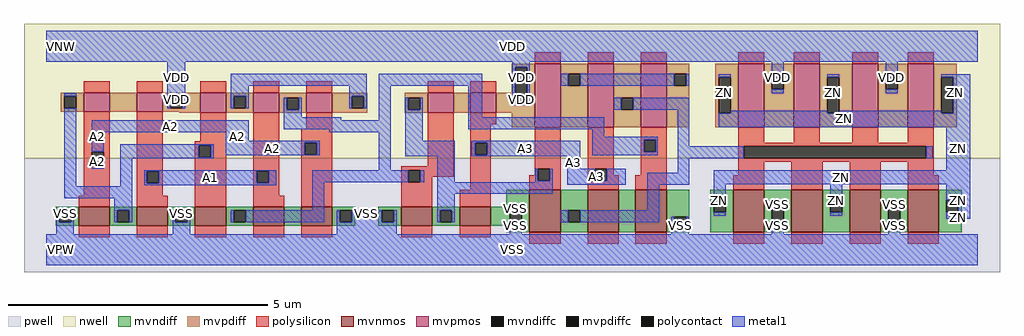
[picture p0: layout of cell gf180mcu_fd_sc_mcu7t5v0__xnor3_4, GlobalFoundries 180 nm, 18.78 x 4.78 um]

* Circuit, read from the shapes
.subckt gf180mcu_fd_sc_mcu7t5v0__xnor3_4 A1 A2 A3 ZN VDD VNW VPW VSS
XM1 n1 A2 VSS VPW nfet_06v0 w=0.36u l=0.6u
XM2 VSS A1 n1 VPW nfet_06v0 w=0.36u l=0.6u
XM3 n2 n1 VSS VPW nfet_06v0 w=0.36u l=0.6u
XM4 n3 A1 n2 VPW nfet_06v0 w=0.36u l=0.6u
XM5 VSS A2 n3 VPW nfet_06v0 w=0.36u l=0.6u
XM6 n4 n2 VSS VPW nfet_06v0 w=0.36u l=0.6u
XM7 VSS A3 n4 VPW nfet_06v0 w=0.36u l=0.6u
XM8 n5 n4 VSS VPW nfet_06v0 w=0.82u l=0.6u
XM9 n6 A3 n5 VPW nfet_06v0 w=0.82u l=0.6u
XM10 VSS n2 n6 VPW nfet_06v0 w=0.82u l=0.6u
XM11 VSS n5 ZN VPW nfet_06v0 w=0.82u l=0.6u m=4
XM12 n7 A2 n1 VNW pfet_06v0 w=0.36u l=0.5u
XM13 VDD A1 n7 VNW pfet_06v0 w=0.36u l=0.5u
XM14 n8 n1 VDD VNW pfet_06v0 w=0.385u l=0.5u
XM15 n2 A1 n8 VNW pfet_06v0 w=0.385u l=0.5u
XM16 n8 A2 n2 VNW pfet_06v0 w=0.385u l=0.5u
XM17 n9 n2 n4 VNW pfet_06v0 w=0.385u l=0.5u
XM18 VDD A3 n9 VNW pfet_06v0 w=0.385u l=0.5u
XM19 n10 n4 VDD VNW pfet_06v0 w=1.22u l=0.5u
XM20 n5 A3 n10 VNW pfet_06v0 w=1.22u l=0.5u
XM21 n10 n2 n5 VNW pfet_06v0 w=1.22u l=0.5u
XM22 VDD n5 ZN VNW pfet_06v0 w=1.22u l=0.5u m=4
.ends

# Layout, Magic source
magic
tech gf180mcuD
magscale 1 10
<< nwell >>
rect -86 352 3670 870
<< pwell >>
rect -86 -86 3670 352
<< mvnmos >>
rect 124 93 244 165
rect 348 93 468 165
rect 572 93 692 165
rect 796 93 916 165
rect 980 93 1100 165
rect 1366 93 1486 165
rect 1590 93 1710 165
rect 1859 68 1979 232
rect 2083 68 2203 232
rect 2267 68 2387 232
rect 2643 68 2763 232
rect 2867 68 2987 232
rect 3091 68 3211 232
rect 3315 68 3435 232
<< mvpmos >>
rect 144 532 244 604
rect 348 532 448 604
rect 592 527 692 604
rect 796 527 896 604
rect 1000 527 1100 604
rect 1467 527 1567 604
rect 1631 527 1731 604
rect 1879 472 1979 716
rect 2083 472 2183 716
rect 2287 472 2387 716
rect 2663 472 2763 716
rect 2877 472 2977 716
rect 3101 472 3201 716
rect 3315 472 3415 716
<< mvndiff >>
rect 1770 165 1859 232
rect 36 152 124 165
rect 36 106 49 152
rect 95 106 124 152
rect 36 93 124 106
rect 244 152 348 165
rect 244 106 273 152
rect 319 106 348 152
rect 244 93 348 106
rect 468 152 572 165
rect 468 106 497 152
rect 543 106 572 152
rect 468 93 572 106
rect 692 152 796 165
rect 692 106 721 152
rect 767 106 796 152
rect 692 93 796 106
rect 916 93 980 165
rect 1100 152 1188 165
rect 1100 106 1129 152
rect 1175 106 1188 152
rect 1100 93 1188 106
rect 1278 152 1366 165
rect 1278 106 1291 152
rect 1337 106 1366 152
rect 1278 93 1366 106
rect 1486 152 1590 165
rect 1486 106 1515 152
rect 1561 106 1590 152
rect 1486 93 1590 106
rect 1710 152 1859 165
rect 1710 106 1783 152
rect 1829 106 1859 152
rect 1710 93 1859 106
rect 1770 68 1859 93
rect 1979 152 2083 232
rect 1979 106 2008 152
rect 2054 106 2083 152
rect 1979 68 2083 106
rect 2203 68 2267 232
rect 2387 128 2475 232
rect 2387 82 2416 128
rect 2462 82 2475 128
rect 2387 68 2475 82
rect 2555 191 2643 232
rect 2555 145 2568 191
rect 2614 145 2643 191
rect 2555 68 2643 145
rect 2763 157 2867 232
rect 2763 111 2792 157
rect 2838 111 2867 157
rect 2763 68 2867 111
rect 2987 191 3091 232
rect 2987 145 3016 191
rect 3062 145 3091 191
rect 2987 68 3091 145
rect 3211 157 3315 232
rect 3211 111 3240 157
rect 3286 111 3315 157
rect 3211 68 3315 111
rect 3435 191 3523 232
rect 3435 145 3464 191
rect 3510 145 3523 191
rect 3435 68 3523 145
<< mvpdiff >>
rect 1791 703 1879 716
rect 1791 604 1804 703
rect 56 591 144 604
rect 56 545 69 591
rect 115 545 144 591
rect 56 532 144 545
rect 244 532 348 604
rect 448 591 592 604
rect 448 545 477 591
rect 523 545 592 591
rect 448 532 592 545
rect 512 527 592 532
rect 692 591 796 604
rect 692 545 721 591
rect 767 545 796 591
rect 692 527 796 545
rect 896 586 1000 604
rect 896 540 925 586
rect 971 540 1000 586
rect 896 527 1000 540
rect 1100 591 1235 604
rect 1100 545 1176 591
rect 1222 545 1235 591
rect 1100 527 1235 545
rect 1379 586 1467 604
rect 1379 540 1392 586
rect 1438 540 1467 586
rect 1379 527 1467 540
rect 1567 527 1631 604
rect 1731 563 1804 604
rect 1850 563 1879 703
rect 1731 527 1879 563
rect 1791 472 1879 527
rect 1979 678 2083 716
rect 1979 632 2008 678
rect 2054 632 2083 678
rect 1979 472 2083 632
rect 2183 586 2287 716
rect 2183 540 2212 586
rect 2258 540 2287 586
rect 2183 472 2287 540
rect 2387 678 2475 716
rect 2387 632 2416 678
rect 2462 632 2475 678
rect 2387 472 2475 632
rect 2575 665 2663 716
rect 2575 525 2588 665
rect 2634 525 2663 665
rect 2575 472 2663 525
rect 2763 665 2877 716
rect 2763 619 2792 665
rect 2838 619 2877 665
rect 2763 472 2877 619
rect 2977 665 3101 716
rect 2977 525 3006 665
rect 3052 525 3101 665
rect 2977 472 3101 525
rect 3201 665 3315 716
rect 3201 619 3230 665
rect 3276 619 3315 665
rect 3201 472 3315 619
rect 3415 665 3503 716
rect 3415 525 3444 665
rect 3490 525 3503 665
rect 3415 472 3503 525
<< mvndiffc >>
rect 49 106 95 152
rect 273 106 319 152
rect 497 106 543 152
rect 721 106 767 152
rect 1129 106 1175 152
rect 1291 106 1337 152
rect 1515 106 1561 152
rect 1783 106 1829 152
rect 2008 106 2054 152
rect 2416 82 2462 128
rect 2568 145 2614 191
rect 2792 111 2838 157
rect 3016 145 3062 191
rect 3240 111 3286 157
rect 3464 145 3510 191
<< mvpdiffc >>
rect 69 545 115 591
rect 477 545 523 591
rect 721 545 767 591
rect 925 540 971 586
rect 1176 545 1222 591
rect 1392 540 1438 586
rect 1804 563 1850 703
rect 2008 632 2054 678
rect 2212 540 2258 586
rect 2416 632 2462 678
rect 2588 525 2634 665
rect 2792 619 2838 665
rect 3006 525 3052 665
rect 3230 619 3276 665
rect 3444 525 3490 665
<< polysilicon >>
rect 1879 716 1979 760
rect 2083 716 2183 760
rect 2287 716 2387 760
rect 2663 716 2763 760
rect 2877 716 2977 760
rect 3101 716 3201 760
rect 3315 716 3415 760
rect 144 604 244 648
rect 348 604 448 648
rect 592 604 692 648
rect 796 604 896 648
rect 1000 604 1100 648
rect 1467 604 1567 648
rect 1631 604 1731 648
rect 144 378 244 532
rect 144 332 175 378
rect 221 332 244 378
rect 144 209 244 332
rect 124 165 244 209
rect 348 303 448 532
rect 592 418 692 527
rect 348 257 387 303
rect 433 257 448 303
rect 348 209 448 257
rect 572 403 692 418
rect 572 357 587 403
rect 633 357 692 403
rect 348 165 468 209
rect 572 165 692 357
rect 796 304 896 527
rect 1000 467 1100 527
rect 796 258 809 304
rect 855 258 896 304
rect 796 209 896 258
rect 980 412 1100 467
rect 980 366 995 412
rect 1041 366 1100 412
rect 796 165 916 209
rect 980 165 1100 366
rect 1467 322 1567 527
rect 1366 307 1567 322
rect 1366 261 1393 307
rect 1439 282 1567 307
rect 1631 483 1731 527
rect 1631 412 1710 483
rect 1631 366 1651 412
rect 1697 366 1710 412
rect 1439 261 1486 282
rect 1366 165 1486 261
rect 1631 232 1710 366
rect 1879 312 1979 472
rect 1879 288 1892 312
rect 1859 266 1892 288
rect 1938 266 1979 312
rect 1859 232 1979 266
rect 2083 312 2183 472
rect 2083 266 2110 312
rect 2156 288 2183 312
rect 2287 423 2387 472
rect 2287 377 2300 423
rect 2346 377 2387 423
rect 2287 288 2387 377
rect 2663 412 2763 472
rect 2877 412 2977 472
rect 3101 412 3201 472
rect 3315 412 3415 472
rect 2663 399 3415 412
rect 2663 353 2683 399
rect 3387 353 3415 399
rect 2663 340 3415 353
rect 2663 288 2763 340
rect 2156 266 2203 288
rect 2083 232 2203 266
rect 2267 232 2387 288
rect 2643 232 2763 288
rect 2867 232 2987 340
rect 3091 232 3211 340
rect 3315 288 3415 340
rect 3315 232 3435 288
rect 1590 165 1710 232
rect 124 49 244 93
rect 348 49 468 93
rect 572 49 692 93
rect 796 49 916 93
rect 980 49 1100 93
rect 1366 49 1486 93
rect 1590 49 1710 93
rect 1859 24 1979 68
rect 2083 24 2203 68
rect 2267 24 2387 68
rect 2643 24 2763 68
rect 2867 24 2987 68
rect 3091 24 3211 68
rect 3315 24 3435 68
<< polycontact >>
rect 175 332 221 378
rect 387 257 433 303
rect 587 357 633 403
rect 809 258 855 304
rect 995 366 1041 412
rect 1393 261 1439 307
rect 1651 366 1697 412
rect 1892 266 1938 312
rect 2110 266 2156 312
rect 2300 377 2346 423
rect 2683 353 3387 399
<< metal1 >>
rect 0 724 3584 844
rect 69 591 115 603
rect 466 591 534 724
rect 1793 703 1861 724
rect 466 545 477 591
rect 523 545 534 591
rect 710 632 1233 678
rect 710 591 778 632
rect 710 545 721 591
rect 767 545 778 591
rect 1165 591 1233 632
rect 69 245 115 545
rect 914 540 925 586
rect 971 540 982 586
rect 1165 545 1176 591
rect 1222 545 1233 591
rect 1279 632 1678 678
rect 914 511 982 540
rect 914 499 1134 511
rect 1279 499 1325 632
rect 175 453 778 499
rect 914 465 1325 499
rect 1088 453 1325 465
rect 175 378 221 453
rect 690 419 778 453
rect 690 412 1052 419
rect 175 313 221 332
rect 284 403 644 407
rect 284 357 587 403
rect 633 357 644 403
rect 690 366 995 412
rect 1041 366 1052 412
rect 690 364 1052 366
rect 284 353 644 357
rect 284 245 330 353
rect 1279 307 1325 453
rect 1381 540 1392 586
rect 1438 540 1449 586
rect 1381 419 1449 540
rect 1623 511 1678 632
rect 1793 563 1804 703
rect 1850 563 1861 703
rect 1979 632 2008 678
rect 2054 632 2416 678
rect 2462 632 2475 678
rect 2588 665 2634 676
rect 1793 557 1861 563
rect 2183 540 2212 586
rect 2258 540 2475 586
rect 1623 465 2147 511
rect 2101 436 2147 465
rect 2101 423 2352 436
rect 1381 360 1572 419
rect 1635 412 2055 419
rect 1635 366 1651 412
rect 1697 366 2055 412
rect 1635 360 2055 366
rect 2101 377 2300 423
rect 2346 377 2352 423
rect 2101 364 2352 377
rect 2429 399 2475 540
rect 2792 665 2838 724
rect 2792 603 2838 619
rect 3006 665 3052 676
rect 2634 525 3006 536
rect 3230 665 3276 724
rect 3230 603 3276 619
rect 3444 665 3555 676
rect 3052 525 3444 536
rect 3490 525 3555 665
rect 2588 472 3555 525
rect 376 304 884 307
rect 376 303 809 304
rect 376 257 387 303
rect 433 258 809 303
rect 855 258 884 304
rect 433 257 884 258
rect 376 248 884 257
rect 1023 261 1393 307
rect 1439 261 1455 307
rect 1023 260 1455 261
rect 1504 261 1572 360
rect 2004 313 2055 360
rect 2429 353 2683 399
rect 3387 353 3412 399
rect 2004 312 2230 313
rect 1881 266 1892 312
rect 1938 266 1949 312
rect 1881 261 1949 266
rect 69 198 330 245
rect 262 152 330 198
rect 1023 152 1069 260
rect 1504 215 1949 261
rect 2004 266 2110 312
rect 2156 266 2230 312
rect 2429 297 2475 353
rect 3464 307 3555 472
rect 2004 251 2230 266
rect 2313 251 2475 297
rect 2568 252 3555 307
rect 1504 152 1572 215
rect 38 106 49 152
rect 95 106 106 152
rect 262 106 273 152
rect 319 106 330 152
rect 486 106 497 152
rect 543 106 554 152
rect 710 106 721 152
rect 767 106 1069 152
rect 1118 106 1129 152
rect 1175 106 1291 152
rect 1337 106 1348 152
rect 1504 106 1515 152
rect 1561 106 1572 152
rect 1783 152 1829 168
rect 2313 152 2359 251
rect 1979 106 2008 152
rect 2054 106 2359 152
rect 2568 191 2614 252
rect 3016 191 3062 252
rect 2568 131 2614 145
rect 2792 157 2838 181
rect 38 60 106 106
rect 486 60 554 106
rect 1118 60 1348 106
rect 1783 60 1829 106
rect 2405 82 2416 128
rect 2462 82 2473 128
rect 2405 60 2473 82
rect 3464 191 3555 252
rect 3016 131 3062 145
rect 3240 157 3286 181
rect 2792 60 2838 111
rect 3510 145 3555 191
rect 3464 120 3555 145
rect 3240 60 3286 111
rect 0 -60 3584 60
<< labels >>
flabel metal1 s 1635 360 2055 419 0 FreeSans 400 0 0 0 A3
port 3 nsew default input
flabel metal1 s 0 724 3584 844 0 FreeSans 400 0 0 0 VDD
port 5 nsew power bidirectional abutment
flabel metal1 s 3240 168 3286 181 0 FreeSans 400 0 0 0 VSS
port 8 nsew ground bidirectional abutment
flabel metal1 s 3444 536 3555 676 0 FreeSans 400 0 0 0 ZN
port 4 nsew default output
flabel metal1 s 376 248 884 307 0 FreeSans 400 0 0 0 A1
port 1 nsew default input
flabel metal1 s 175 453 778 499 0 FreeSans 400 0 0 0 A2
port 2 nsew default input
flabel nwell s 10 734 110 834 0 FreeSans 400 0 0 0 VNW
port 6 nsew power bidirectional
flabel pwell s 10 -50 110 50 0 FreeSans 400 0 0 0 VPW
port 7 nsew ground bidirectional
rlabel metal1 s 690 419 778 453 1 A2
port 2 nsew default input
rlabel metal1 s 175 419 221 453 1 A2
port 2 nsew default input
rlabel metal1 s 690 364 1052 419 1 A2
port 2 nsew default input
rlabel metal1 s 175 364 221 419 1 A2
port 2 nsew default input
rlabel metal1 s 175 313 221 364 1 A2
port 2 nsew default input
rlabel metal1 s 2004 313 2055 360 1 A3
port 3 nsew default input
rlabel metal1 s 2004 251 2230 313 1 A3
port 3 nsew default input
rlabel metal1 s 3006 536 3052 676 1 ZN
port 4 nsew default output
rlabel metal1 s 2588 536 2634 676 1 ZN
port 4 nsew default output
rlabel metal1 s 2588 472 3555 536 1 ZN
port 4 nsew default output
rlabel metal1 s 3464 307 3555 472 1 ZN
port 4 nsew default output
rlabel metal1 s 2568 252 3555 307 1 ZN
port 4 nsew default output
rlabel metal1 s 3464 131 3555 252 1 ZN
port 4 nsew default output
rlabel metal1 s 3016 131 3062 252 1 ZN
port 4 nsew default output
rlabel metal1 s 2568 131 2614 252 1 ZN
port 4 nsew default output
rlabel metal1 s 3464 120 3555 131 1 ZN
port 4 nsew default output
rlabel metal1 s 3230 603 3276 724 1 VDD
port 5 nsew power bidirectional abutment
rlabel metal1 s 2792 603 2838 724 1 VDD
port 5 nsew power bidirectional abutment
rlabel metal1 s 1793 603 1861 724 1 VDD
port 5 nsew power bidirectional abutment
rlabel metal1 s 466 603 534 724 1 VDD
port 5 nsew power bidirectional abutment
rlabel metal1 s 1793 557 1861 603 1 VDD
port 5 nsew power bidirectional abutment
rlabel metal1 s 466 557 534 603 1 VDD
port 5 nsew power bidirectional abutment
rlabel metal1 s 466 545 534 557 1 VDD
port 5 nsew power bidirectional abutment
rlabel metal1 s 2792 168 2838 181 1 VSS
port 8 nsew ground bidirectional abutment
rlabel metal1 s 3240 152 3286 168 1 VSS
port 8 nsew ground bidirectional abutment
rlabel metal1 s 2792 152 2838 168 1 VSS
port 8 nsew ground bidirectional abutment
rlabel metal1 s 1783 152 1829 168 1 VSS
port 8 nsew ground bidirectional abutment
rlabel metal1 s 3240 128 3286 152 1 VSS
port 8 nsew ground bidirectional abutment
rlabel metal1 s 2792 128 2838 152 1 VSS
port 8 nsew ground bidirectional abutment
rlabel metal1 s 1783 128 1829 152 1 VSS
port 8 nsew ground bidirectional abutment
rlabel metal1 s 1118 128 1348 152 1 VSS
port 8 nsew ground bidirectional abutment
rlabel metal1 s 486 128 554 152 1 VSS
port 8 nsew ground bidirectional abutment
rlabel metal1 s 38 128 106 152 1 VSS
port 8 nsew ground bidirectional abutment
rlabel metal1 s 3240 60 3286 128 1 VSS
port 8 nsew ground bidirectional abutment
rlabel metal1 s 2792 60 2838 128 1 VSS
port 8 nsew ground bidirectional abutment
rlabel metal1 s 2405 60 2473 128 1 VSS
port 8 nsew ground bidirectional abutment
rlabel metal1 s 1783 60 1829 128 1 VSS
port 8 nsew ground bidirectional abutment
rlabel metal1 s 1118 60 1348 128 1 VSS
port 8 nsew ground bidirectional abutment
rlabel metal1 s 486 60 554 128 1 VSS
port 8 nsew ground bidirectional abutment
rlabel metal1 s 38 60 106 128 1 VSS
port 8 nsew ground bidirectional abutment
rlabel metal1 s 0 -60 3584 60 1 VSS
port 8 nsew ground bidirectional abutment
<< properties >>
string FIXED_BBOX 0 0 3584 784
string GDS_END 356348
string GDS_FILE $PDKPATH/libs.ref/gf180mcu_fd_sc_mcu7t5v0/gds/gf180mcu_fd_sc_mcu7t5v0.gds
string GDS_START 348300
string LEFclass core
string LEFsite GF018hv5v_mcu_sc7
string LEFsymmetry X Y
<< end >>
